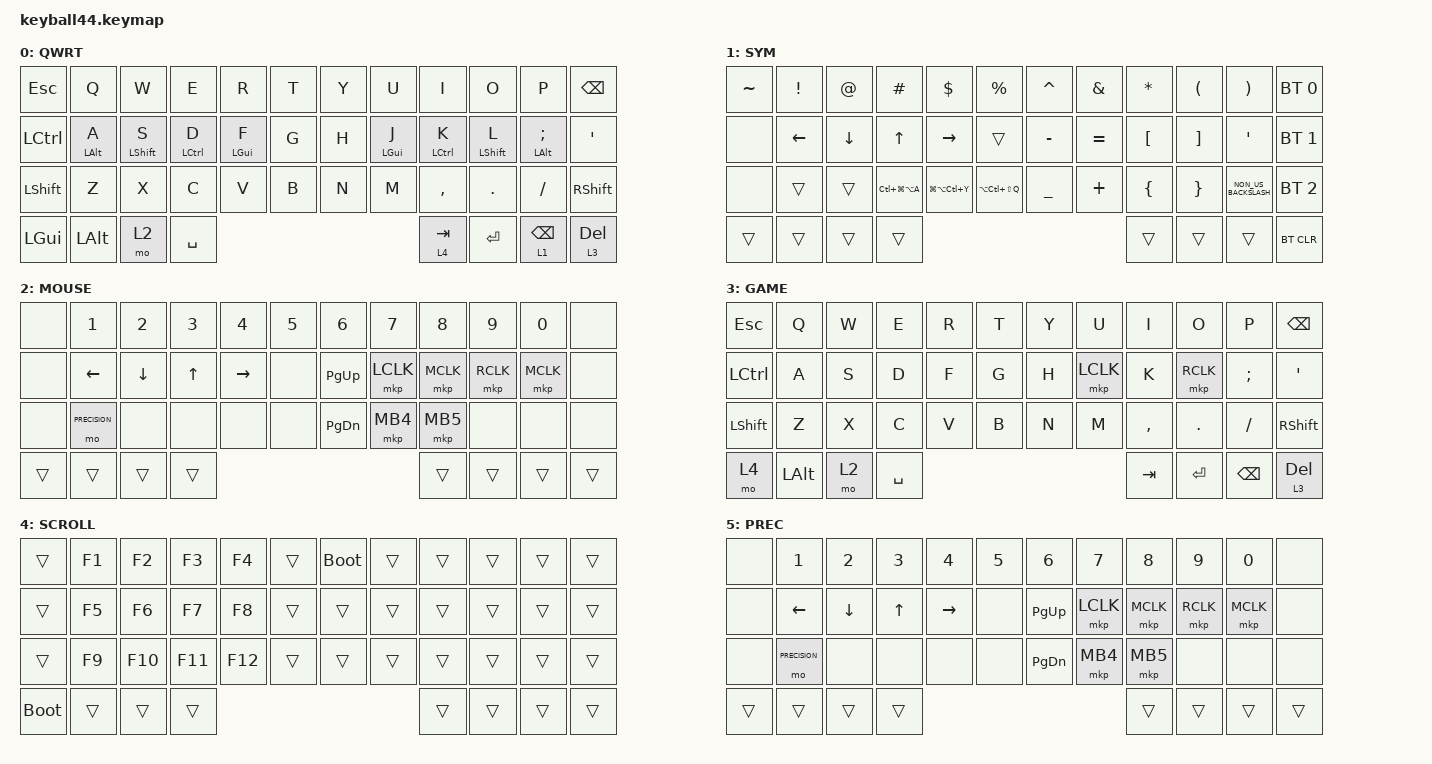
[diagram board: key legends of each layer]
#define DEFAULT 0
#define SYM     1
#define MOUSE   2
#define GAME    3
#define SCROLL  4
#define PRECISION 5

#include <behaviors/mouse_keys.dtsi>
#include <dt-bindings/zmk/mouse.h>
#include <behaviors.dtsi>
#include <dt-bindings/zmk/bt.h>
#include <dt-bindings/zmk/keys.h>
#include <dt-bindings/zmk/pointing.h>

&nice_view_spi { cs-gpios = <&pro_micro 1 GPIO_ACTIVE_HIGH>; };

&lt {
    tapping-term-ms = <170>;
    flavor = "hold-preferred";
};

&mt {
    flavor = "tap-preferred";
    tapping-term-ms = <220>;
};

&caps_word { continue-list = <UNDERSCORE MINUS>; };

/ {
    // custom shift using mod-morph 

    behaviors {
        lt_tab: layer_tap_tab {
            compatible = "zmk,behavior-hold-tap";
            label = "LAYER_TAP_TAB";
            #binding-cells = <2>;
            flavor = "hold-preferred";
            tapping-term-ms = <170>;
            quick-tap-ms = <120>;
            bindings = <&mo>, <&kp>;
        };

        cmqus: comma_question {
            compatible = "zmk,behavior-mod-morph";
            label = "COMMA_QUESTION";
            #binding-cells = <0>;
            bindings = <&kp COMMA>, <&kp QUESTION>;

            mods = <(MOD_LSFT|MOD_RSFT)>;
        };

        dtsmi: dot_semi {
            compatible = "zmk,behavior-mod-morph";
            label = "DOT_SEMI";
            #binding-cells = <0>;
            bindings = <&kp DOT>, <&kp SEMI>;

            mods = <(MOD_LSFT|MOD_RSFT)>;
        };

        game_tog: game_toggle {
            compatible = "zmk,behavior-hold-tap";
            label = "GAME_TOGGLE";
            #binding-cells = <2>;
            flavor = "tap-preferred";
            tapping-term-ms = <300>;
            bindings = <&tog>, <&kp>;
        };
    };

    combos {
        compatible = "zmk,combos";

        left_bootloader {
            bindings = <&bootloader>;
            key-positions = <29 17 5>;
            layers = <0>;
        };

        right_bootloader {
            bindings = <&bootloader>;
            key-positions = <30 18 6>;
            layers = <0>;
        };
    };

    keymap {
        compatible = "zmk,keymap";

        default_layer {
            label = "QWRT";
            bindings = <
&kp ESCAPE      &kp Q           &kp W             &kp E        &kp R           &kp T                 &kp Y            &kp U           &kp I        &kp O             &kp P              &kp BACKSPACE
&kp LCTRL       &mt LEFT_ALT A  &mt LEFT_SHIFT S  &mt LCTRL D  &mt LEFT_GUI F  &kp G                 &kp H            &mt LEFT_GUI J  &mt LCTRL K  &mt LEFT_SHIFT L  &mt LEFT_ALT SEMI  &kp SQT
&kp LEFT_SHIFT  &kp Z           &kp X             &kp C        &kp V           &kp B                 &kp N            &kp M           &kp COMMA    &kp DOT           &kp SLASH          &kp RIGHT_SHIFT
&kp LEFT_GUI    &kp LEFT_ALT    &mo 2             &kp SPACE    &lt 4 TAB                  &kp ENTER  &lt 1 BACKSPACE                                                                    &game_tog 3 DELETE
            >;
        };

        symbol_layer {
            label = "SYM";
            bindings = <
&kp TILDE  &kp EXCLAMATION  &kp AT_SIGN  &kp HASH           &kp DOLLAR         &kp PERCENT                    &kp CARET       &kp AMPERSAND  &kp ASTERISK      &kp LEFT_PARENTHESIS  &kp RIGHT_PARENTHESIS  &bt BT_SEL 0
&none      &kp LEFT         &kp DOWN     &kp UP_ARROW       &kp RIGHT          &trans                         &kp MINUS       &kp EQUAL      &kp LEFT_BRACKET  &kp RIGHT_BRACKET     &kp SQT                &bt BT_SEL 1
&none      &trans           &trans       &kp LC(LG(LA(A)))  &kp LG(LA(LC(Y)))  &kp LA(LC(LS(Q)))              &kp UNDERSCORE  &kp PLUS       &kp LEFT_BRACE    &kp RIGHT_BRACE       &kp NON_US_BACKSLASH   &bt BT_SEL 2
&trans     &trans           &trans       &trans             &trans                                    &trans  &trans                                                                                        &bt BT_CLR
            >;
        };

        mouse_layer {
            label = "MOUSE";
            bindings = <
&none   &kp N1          &kp N2          &kp N3        &kp N4     &kp N5              &kp N6         &kp N7     &kp N8     &kp N9     &kp N0     &none
&none   &kp LEFT_ARROW  &kp DOWN_ARROW  &kp UP_ARROW  &kp RIGHT  &none               &kp PAGE_UP    &mkp LCLK  &mkp MCLK  &mkp RCLK  &mkp MCLK  &none
&none   &mo PRECISION   &none           &none         &none      &none               &kp PAGE_DOWN  &mkp MB4   &mkp MB5   &none      &none      &none
&trans  &trans          &trans          &trans        &trans                 &trans  &trans                                                     &trans
            >;
        };

        game_layer {
            label = "GAME";
            bindings = <
&kp ESCAPE      &kp Q     &kp W  &kp E      &kp R    &kp T                 &kp Y          &kp U      &kp I      &kp O      &kp P      &kp BACKSPACE
&kp LCTRL       &kp A     &kp S  &kp D      &kp F    &kp G                 &kp H          &mkp LCLK  &kp K      &mkp RCLK  &kp SEMI   &kp SQT
&kp LEFT_SHIFT  &kp Z     &kp X  &kp C      &kp V    &kp B                 &kp N          &kp M      &kp COMMA  &kp DOT    &kp SLASH  &kp RIGHT_SHIFT
&mo 4           &kp LALT  &mo 2  &kp SPACE  &kp TAB             &kp ENTER  &kp BACKSPACE                                              &game_tog 3 DELETE
            >;
        };

        scroll_layer {
            label = "SCROLL";
            bindings = <
&trans       &kp F1  &kp F2   &kp F3   &kp F4   &trans              &bootloader  &trans  &trans  &trans  &trans  &trans
&trans       &kp F5  &kp F6   &kp F7   &kp F8   &trans              &trans       &trans  &trans  &trans  &trans  &trans
&trans       &kp F9  &kp F10  &kp F11  &kp F12  &trans              &trans       &trans  &trans  &trans  &trans  &trans
&bootloader  &trans  &trans   &trans   &trans               &trans  &trans                                       &trans
            >;
        };
        // Explicit mouse bindings: automouse may expire while precision is held.
        precision_layer {
            label = "PREC";
            bindings = <
&none   &kp N1          &kp N2          &kp N3        &kp N4     &kp N5              &kp N6         &kp N7     &kp N8     &kp N9     &kp N0     &none
&none   &kp LEFT_ARROW  &kp DOWN_ARROW  &kp UP_ARROW  &kp RIGHT  &none               &kp PAGE_UP    &mkp LCLK  &mkp MCLK  &mkp RCLK  &mkp MCLK  &none
&none   &mo PRECISION   &none           &none         &none      &none               &kp PAGE_DOWN  &mkp MB4   &mkp MB5   &none      &none      &none
&trans  &trans          &trans          &trans        &trans                 &trans  &trans                                                     &trans
            >;
        };
    };
};
